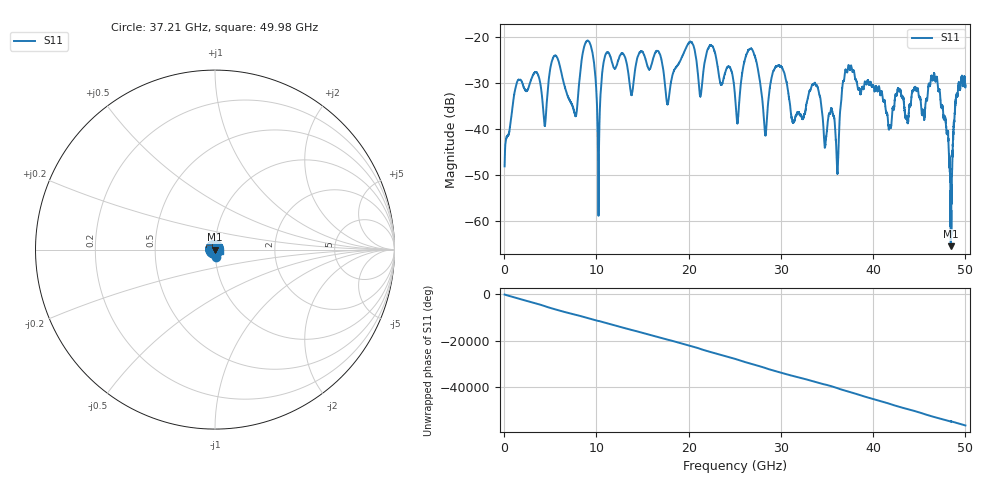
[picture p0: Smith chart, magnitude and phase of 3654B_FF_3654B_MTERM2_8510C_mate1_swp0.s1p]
!Created with skrf (http://scikit-rf.org).
# Hz S RI R 50.0
!freq ReS11 ImS11
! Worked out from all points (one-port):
!   10001 points, 45 MHz to 50 GHz, reference 50 ohm
!   lowest |S11| = -65.4 dB at 48.42 GHz (marker M1), VSWR 1.00, Z = 49.9 - j0.00244 ohm
!   |S11| at or under -10 dB: start of sweep to end of sweep
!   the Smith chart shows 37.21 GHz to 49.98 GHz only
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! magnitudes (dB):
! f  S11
! 45 MHz  -48.1
! 1.529 GHz  -29.3
! 4.386 GHz  -39.3
! 5.31 GHz  -24.5
! 6.289 GHz  -28.6
! 7.708 GHz  -37.0
! 9.192 GHz  -20.9
! 10.24 GHz  -54.8
! 10.95 GHz  -24.0
! 12.53 GHz  -24.0
! 17.72 GHz  -34.6
! 18.78 GHz  -26.1
! 20.32 GHz  -21.1
! 21.3 GHz  -32.7
! 22.47 GHz  -21.8
! 25.02 GHz  -32.8
! 26.75 GHz  -22.5
! 28.28 GHz  -40.9
! 29.64 GHz  -26.3
! 31.27 GHz  -38.5
! 33.75 GHz  -30.2
! 36.1 GHz  -48.9
! 37.51 GHz  -26.9
! 43.76 GHz  -38.6
! 46.75 GHz  -29.6
! 48.42 GHz  -65.4
! 49.09 GHz  -32.8
! 50 GHz  -30.5
